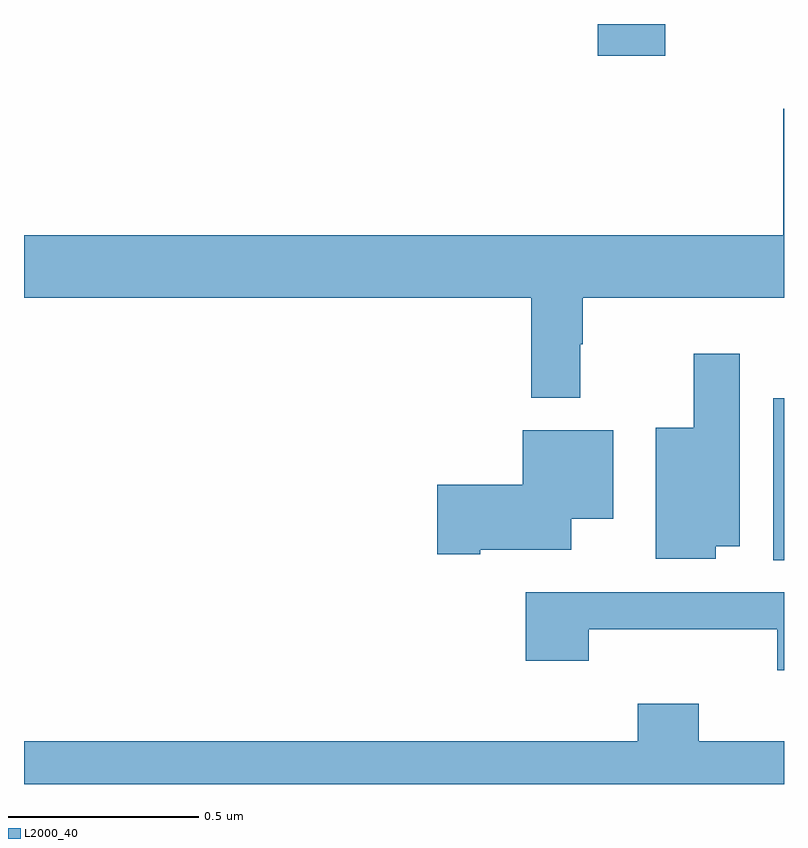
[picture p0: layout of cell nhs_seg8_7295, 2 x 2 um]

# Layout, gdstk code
import gdstk
lib = gdstk.Library(unit=1e-6, precision=1e-09)
def R(c, l, rs):  # rectangles x0, y0, x1, y1
    for r in rs: c.add(gdstk.rectangle(r[:2], r[2:], *l))
def P(c, l, *ps):  # polygons
    for p in ps: c.add(gdstk.Polygon(p, *l))
L2000_40 = (2000, 40)

nhs_seg8_7295 = lib.new_cell('nhs_seg8_7295')
R(nhs_seg8_7295, L2000_40, [(209.972,1102.489,210,1102.915), (209.51,1103.817,209.688,1103.9)])
P(nhs_seg8_7295, L2000_40, [(209.464,1103.057),(209.471,1103.057),(209.471,1103.18),(210,1103.18),(210,1103.677),(209.998,1103.677),(209.998,1103.344),(208,1103.344),(208,1103.18),(209.335,1103.18),(209.335,1102.917),(209.464,1102.917)],
  [(209.821,1102.526),(209.884,1102.526),(209.884,1103.032),(209.762,1103.032),(209.762,1102.837),(209.663,1102.837),(209.663,1102.493),(209.821,1102.493)],
  [(209.2,1102.517),(209.44,1102.517),(209.44,1102.598),(209.551,1102.598),(209.551,1102.831),(209.312,1102.831),(209.312,1102.688),(209.088,1102.688),(209.088,1102.505),(209.2,1102.505)],
  [(210,1102.404),(209.321,1102.404),(209.321,1102.224),(209.486,1102.224),(209.486,1102.307),(209.982,1102.307),(209.982,1102.199),(210,1102.199)],
  [(209.615,1102.111),(209.615,1102.012),(208,1102.012),(208,1101.9),(210,1101.9),(210,1102.012),(209.775,1102.012),(209.775,1102.111)])

lib.write_gds('nhs_seg8_7295.gds')
